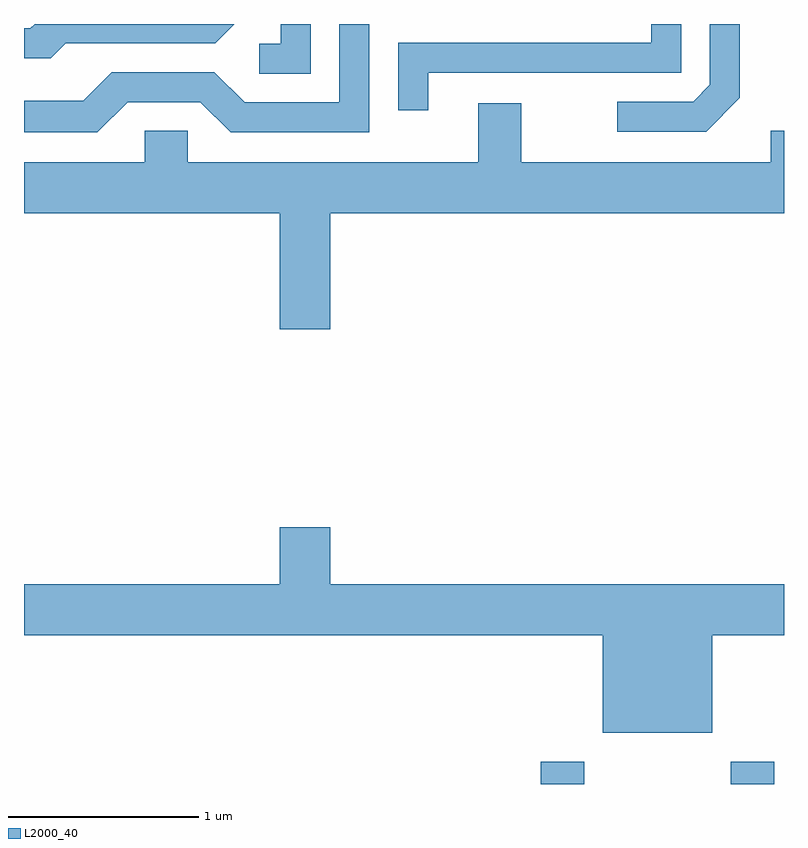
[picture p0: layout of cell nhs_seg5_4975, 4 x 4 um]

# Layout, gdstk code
import gdstk
lib = gdstk.Library(unit=1e-6, precision=1e-09)
def R(c, l, rs):  # rectangles x0, y0, x1, y1
    for r in rs: c.add(gdstk.rectangle(r[:2], r[2:], *l))
def P(c, l, *ps):  # polygons
    for p in ps: c.add(gdstk.Polygon(p, *l))
L2000_40 = (2000, 40)

nhs_seg5_4975 = lib.new_cell('nhs_seg5_4975')
R(nhs_seg5_4975, L2000_40, [(336.331,1396.072,336.559,1396.189), (337.331,1396.072,337.559,1396.189)])
P(nhs_seg5_4975, L2000_40, [(334.157,1399.661),(334.539,1399.661),(334.699,1399.501),(335.429,1399.501),(335.429,1400.072),(335.271,1400.072),(335.271,1399.659),(334.772,1399.659),(334.612,1399.819),(334.074,1399.819),(333.924,1399.669),(333.611,1399.669),(333.611,1399.501),(333.997,1399.501)],
  [(335.119,1400.072),(334.961,1400.072),(334.961,1399.969),(334.848,1399.969),(334.848,1399.811),(335.119,1399.811)],
  [(335.739,1399.816),(337.069,1399.816),(337.069,1400.072),(336.911,1400.072),(336.911,1399.974),(335.581,1399.974),(335.581,1399.618),(335.739,1399.618)],
  [(333.832,1399.971),(334.617,1399.971),(334.717,1400.072),(333.667,1400.072),(333.644,1400.049),(333.611,1400.049),(333.611,1399.891),(333.752,1399.891)],
  [(337.379,1399.684),(337.379,1400.072),(337.221,1400.072),(337.221,1399.752),(337.134,1399.664),(336.733,1399.664),(336.733,1399.506),(337.202,1399.506)],
  [(335.224,1399.076),(337.611,1399.076),(337.611,1399.509),(337.541,1399.509),(337.541,1399.344),(336.229,1399.344),(336.229,1399.654),(336.001,1399.654),(336.001,1399.344),(334.474,1399.344),(334.474,1399.509),(334.246,1399.509),(334.246,1399.344),(333.611,1399.344),(333.611,1399.076),(334.956,1399.076),(334.956,1398.466),(335.224,1398.466)],
  [(337.234,1396.856),(337.611,1396.856),(337.611,1397.124),(335.224,1397.124),(335.224,1397.424),(334.956,1397.424),(334.956,1397.124),(333.611,1397.124),(333.611,1396.856),(336.656,1396.856),(336.656,1396.341),(337.234,1396.341)])

lib.write_gds('nhs_seg5_4975.gds')
